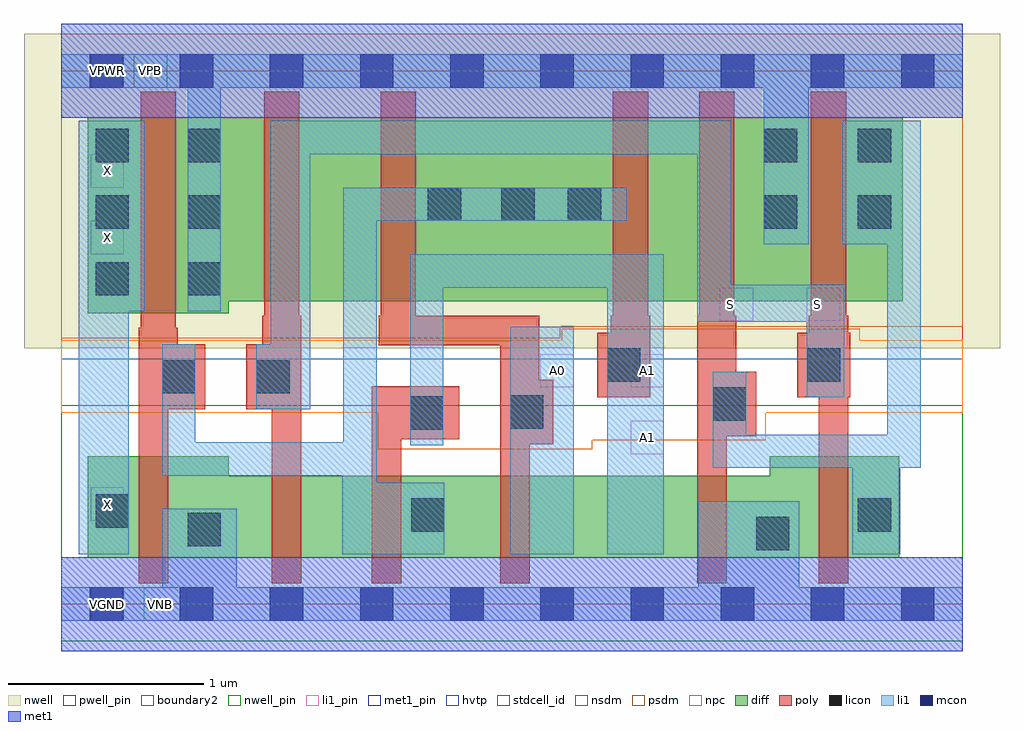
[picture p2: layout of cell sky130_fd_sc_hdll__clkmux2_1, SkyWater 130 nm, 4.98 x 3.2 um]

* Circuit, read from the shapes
.subckt sky130_fd_sc_hdll__clkmux2_1 A0 A1 S VGND VNB VPB VPWR X
XM1 VGND n1 X VNB sky130_fd_pr__nfet_01v8 w=0.52 l=0.15
XM2 n2 S VGND VNB sky130_fd_pr__nfet_01v8 w=0.42 l=0.15
XM3 n1 A1 n2 VNB sky130_fd_pr__nfet_01v8 w=0.42 l=0.15
XM4 n3 A0 n1 VNB sky130_fd_pr__nfet_01v8 w=0.42 l=0.15
XM5 VGND n4 n3 VNB sky130_fd_pr__nfet_01v8 w=0.42 l=0.15
XM6 n4 S VGND VNB sky130_fd_pr__nfet_01v8 w=0.52 l=0.15
XM7 VPWR n1 X VPB sky130_fd_pr__pfet_01v8_hvt w=1 l=0.18
XM8 n5 S VPWR VPB sky130_fd_pr__pfet_01v8_hvt w=0.94 l=0.18
XM9 n1 A0 n5 VPB sky130_fd_pr__pfet_01v8_hvt w=0.94 l=0.18
XM10 n6 A1 n1 VPB sky130_fd_pr__pfet_01v8_hvt w=0.94 l=0.18
XM11 VPWR n4 n6 VPB sky130_fd_pr__pfet_01v8_hvt w=0.94 l=0.18
XM12 n4 S VPWR VPB sky130_fd_pr__pfet_01v8_hvt w=0.94 l=0.18
.ends

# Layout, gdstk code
import gdstk
lib = gdstk.Library(unit=1e-6, precision=1e-09)
def R(c, l, rs):  # rectangles x0, y0, x1, y1
    for r in rs: c.add(gdstk.rectangle(r[:2], r[2:], *l))
def A(c, l, x, y, w, h, nx, ny, dx, dy):  # array of equal rectangles
    R(c, l, [(x+i*dx, y+j*dy, x+i*dx+w, y+j*dy+h) for i in range(nx) for j in range(ny)])
def P(c, l, *ps):  # polygons
    for p in ps: c.add(gdstk.Polygon(p, *l))
nwell_pin = (64, 16)
nwell = (64, 20)
diff = (65, 20)
poly = (66, 20)
licon = (66, 44)
li1_pin = (67, 16)
li1 = (67, 20)
mcon = (67, 44)
met1_pin = (68, 16)
met1 = (68, 20)
hvtp = (78, 44)
stdcell_id = (81, 4)
nsdm = (93, 44)
psdm = (94, 20)
npc = (95, 20)
pwell_pin = (122, 16)
boundary2 = (236, 0)

sky130_fd_sc_hdll__clkmu = lib.new_cell('sky130_fd_sc_hdll__clkmux2_1')
R(sky130_fd_sc_hdll__clkmu, nwell_pin, [(0.37,2.635,0.54,2.805)])
R(sky130_fd_sc_hdll__clkmu, nwell, [(-0.19,1.305,4.79,2.91)])
P(sky130_fd_sc_hdll__clkmu, diff, [(4.275,0.755),(3.615,0.755),(3.615,0.655),(0.855,0.655),(0.855,0.755),(0.135,0.755),(0.135,0.235),(4.275,0.235)],
  [(4.295,2.485),(0.135,2.485),(0.135,1.485),(0.855,1.485),(0.855,1.545),(4.295,1.545)])
R(sky130_fd_sc_hdll__clkmu, poly, [(3.865,0.105,4.015,1.055), (3.755,1.055,4.025,1.385)])
P(sky130_fd_sc_hdll__clkmu, poly, [(0.735,1.325),(0.595,1.325),(0.595,1.41),(0.585,1.41),(0.585,2.615),(0.405,2.615),(0.405,1.41),(0.395,1.41),(0.395,0.105),(0.545,0.105),(0.545,0.995),(0.735,0.995)],
  [(1.225,1.47),(1.215,1.47),(1.215,2.615),(1.035,2.615),(1.035,1.47),(1.025,1.47),(1.025,1.325),(0.945,1.325),(0.945,0.995),(1.075,0.995),(1.075,0.105),(1.225,0.105)],
  [(2.03,1.11),(1.585,1.11),(1.585,0.105),(1.735,0.105),(1.735,0.84),(2.03,0.84)],
  [(2.51,1.145),(2.44,1.145),(2.44,1.47),(1.81,1.47),(1.81,2.615),(1.63,2.615),(1.63,1.47),(1.62,1.47),(1.62,1.32),(2.24,1.32),(2.24,0.105),(2.39,0.105),(2.39,0.815),(2.51,0.815)],
  [(3.005,1.47),(2.995,1.47),(2.995,2.615),(2.815,2.615),(2.815,1.47),(2.805,1.47),(2.805,1.385),(2.735,1.385),(2.735,1.055),(3.005,1.055)],
  [(3.545,1.185),(3.445,1.185),(3.445,1.47),(3.435,1.47),(3.435,2.615),(3.255,2.615),(3.255,1.47),(3.245,1.47),(3.245,0.105),(3.395,0.105),(3.395,0.855),(3.545,0.855)],
  [(4.015,1.47),(4.005,1.47),(4.005,2.615),(3.825,2.615),(3.825,1.47),(3.815,1.47),(3.815,1.385),(4.015,1.385)])
A(sky130_fd_sc_hdll__clkmu, licon, 0.175, 1.575, 0.17, 0.17, 1, 3, 0, 0.34)
A(sky130_fd_sc_hdll__clkmu, licon, 0.645, 1.575, 0.17, 0.17, 1, 3, 0, 0.34)
R(sky130_fd_sc_hdll__clkmu, licon, [(3.545,0.275,3.715,0.445), (0.645,0.295,0.815,0.465), (1.785,0.37,1.955,0.54), (4.065,0.37,4.235,0.54), (0.175,0.39,0.345,0.56), (1.78,0.89,1.95,1.06), (2.29,0.895,2.46,1.065), (3.325,0.935,3.495,1.105), (0.515,1.075,0.685,1.245), (0.995,1.075,1.165,1.245), (2.785,1.135,2.955,1.305), (3.805,1.135,3.975,1.305), (3.585,1.915,3.755,2.085), (4.065,1.915,4.235,2.085), (1.87,1.955,2.04,2.125), (2.245,1.955,2.415,2.125), (2.585,1.955,2.755,2.125), (3.585,2.255,3.755,2.425), (4.065,2.255,4.235,2.425)])
R(sky130_fd_sc_hdll__clkmu, li1_pin, [(0.15,0.425,0.32,0.595), (2.905,0.765,3.075,0.935), (2.445,1.105,2.615,1.275), (2.905,1.105,3.075,1.275), (3.36,1.445,3.53,1.615), (3.805,1.445,3.975,1.615), (0.15,1.785,0.32,1.955), (0.15,2.125,0.32,2.295)])
R(sky130_fd_sc_hdll__clkmu, li1, [(2.29,0.255,2.615,1.415)])
P(sky130_fd_sc_hdll__clkmu, li1, [(4.6,0.085),(3.765,0.085),(3.765,0.525),(3.25,0.525),(3.25,0.085),(0.895,0.085),(0.895,0.485),(0.515,0.485),(0.515,0.085),(0,0.085),(0,-0.085),(4.6,-0.085)],
  [(4.6,2.805),(0,2.805),(0,2.635),(0.645,2.635),(0.645,1.495),(0.815,1.495),(0.815,2.635),(3.585,2.635),(3.585,1.835),(3.815,1.835),(3.815,2.635),(4.6,2.635)],
  [(0.425,2.465),(0.09,2.465),(0.09,0.255),(0.345,0.255),(0.345,1.495),(0.425,1.495)],
  [(2.885,2.125),(1.44,2.125),(1.44,0.825),(0.685,0.825),(0.685,1.325),(0.515,1.325),(0.515,0.655),(1.435,0.655),(1.435,0.255),(1.955,0.255),(1.955,0.62),(1.61,0.62),(1.61,1.955),(2.885,1.955)],
  [(3.075,1.785),(1.78,1.785),(1.78,0.81),(1.95,0.81),(1.95,1.615),(2.785,1.615),(2.785,0.255),(3.075,0.255)],
  [(4.385,2.465),(3.985,2.465),(3.985,1.835),(4.215,1.835),(4.215,0.865),(3.495,0.865),(3.495,1.185),(3.325,1.185),(3.325,0.695),(4.035,0.695),(4.035,0.255),(4.28,0.255),(4.28,0.695),(4.385,0.695)],
  [(3.995,1.63),(3.415,1.63),(3.415,2.465),(1.07,2.465),(1.07,1.325),(0.995,1.325),(0.995,0.995),(1.27,0.995),(1.27,2.295),(3.245,2.295),(3.245,1.44),(3.805,1.44),(3.805,1.055),(3.995,1.055)])
A(sky130_fd_sc_hdll__clkmu, mcon, 0.145, -0.085, 0.17, 0.17, 10, 2, 0.46, 2.72)
R(sky130_fd_sc_hdll__clkmu, met1_pin, [(0.15,-0.085,0.32,0.085), (0.15,2.635,0.32,2.805)])
R(sky130_fd_sc_hdll__clkmu, met1, [(0,-0.24,4.6,0.24), (0,2.48,4.6,2.96)])
R(sky130_fd_sc_hdll__clkmu, hvtp, [(0,1.25,4.6,2.72)])
R(sky130_fd_sc_hdll__clkmu, stdcell_id, [(0,0,4.6,2.72)])
R(sky130_fd_sc_hdll__clkmu, nsdm, [(0,-0.19,4.6,1.015)])
P(sky130_fd_sc_hdll__clkmu, psdm, [(4.6,2.91),(0,2.91),(0,1.355),(2.545,1.355),(2.545,1.415),(4.6,1.415)])
P(sky130_fd_sc_hdll__clkmu, npc, [(4.6,1.345),(4.075,1.345),(4.075,1.405),(2.555,1.405),(2.555,1.345),(0,1.345),(0,0.975),(1.615,0.975),(1.615,0.79),(2.71,0.79),(2.71,0.835),(3.595,0.835),(3.595,0.975),(4.6,0.975)])
R(sky130_fd_sc_hdll__clkmu, pwell_pin, [(0.42,-0.085,0.64,0.085)])
R(sky130_fd_sc_hdll__clkmu, boundary2, [(0,0,4.6,2.72)])
sky130_fd_sc_hdll__clkmu.add(gdstk.Label('VGND', (0.235,0), layer=68, texttype=5))
sky130_fd_sc_hdll__clkmu.add(gdstk.Label('VPWR', (0.235,2.72), layer=68, texttype=5))
sky130_fd_sc_hdll__clkmu.add(gdstk.Label('S', (3.415,1.53), layer=67, texttype=5))
sky130_fd_sc_hdll__clkmu.add(gdstk.Label('A1', (2.99,0.85), layer=67, texttype=5))
sky130_fd_sc_hdll__clkmu.add(gdstk.Label('A1', (2.99,1.19), layer=67, texttype=5))
sky130_fd_sc_hdll__clkmu.add(gdstk.Label('A0', (2.53,1.19), layer=67, texttype=5))
sky130_fd_sc_hdll__clkmu.add(gdstk.Label('X', (0.235,0.51), layer=67, texttype=5))
sky130_fd_sc_hdll__clkmu.add(gdstk.Label('X', (0.235,1.87), layer=67, texttype=5))
sky130_fd_sc_hdll__clkmu.add(gdstk.Label('X', (0.235,2.21), layer=67, texttype=5))
sky130_fd_sc_hdll__clkmu.add(gdstk.Label('S', (3.86,1.53), layer=67, texttype=5))
sky130_fd_sc_hdll__clkmu.add(gdstk.Label('VPB', (0.455,2.72), layer=64, texttype=5))
sky130_fd_sc_hdll__clkmu.add(gdstk.Label('VNB', (0.505,0), layer=64, texttype=59))
sky130_fd_sc_hdll__clkmu.add(gdstk.Label('clkmux2_1', (0,0), layer=83, texttype=44))

lib.write_gds('sky130_fd_sc_hdll__clkmux2_1.gds')
